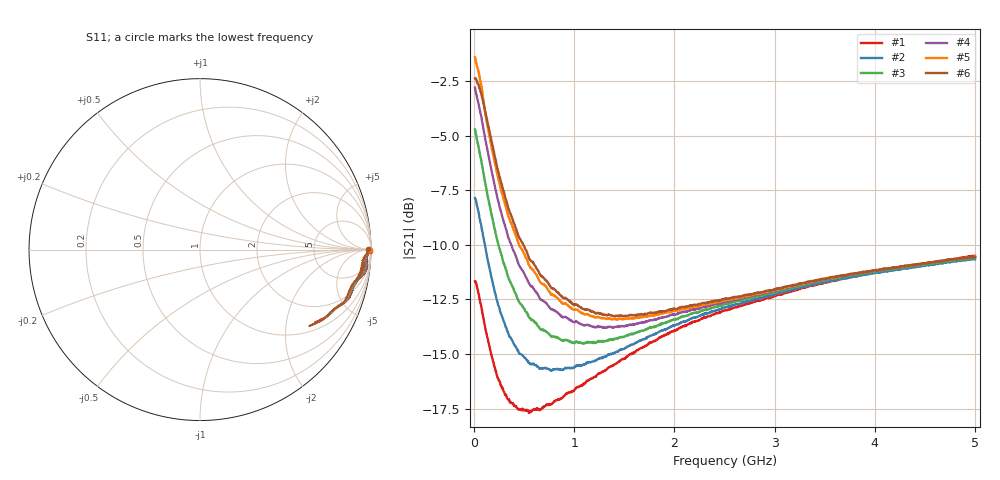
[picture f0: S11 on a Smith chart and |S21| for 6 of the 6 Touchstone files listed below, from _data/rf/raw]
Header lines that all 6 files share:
# Hz S DB R 50
Fixed: Cpbe_fF = 22.0, Cpce_fF = 18.0, Cpbc_fF = 5.0, Lb_pH = 45.0, Lc_pH = 42.0, Le_pH = 6.0, Rpb_ohm = 0.0, Rpc_ohm = 0.0, Rpe_ohm = 0.0
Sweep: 10 MHz to 5 GHz
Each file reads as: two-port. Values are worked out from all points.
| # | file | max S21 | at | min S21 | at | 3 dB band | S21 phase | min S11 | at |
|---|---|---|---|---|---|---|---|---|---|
| 1 | deemb_preext_vce3.5_ib80u.s2p | -10.50 dB | 4.975 GHz | -17.7 dB | 548.9 MHz | 2.221 GHz-5 GHz | 54 deg at 2.505 GHz | -2.0 dB | 4.995 GHz |
| 2 | deemb_preext_vce3.5_ib120u.s2p | -7.86 dB | 10 MHz | -15.8 dB | 773.5 MHz | 4.651 GHz-5 GHz | 55 deg at 2.505 GHz | -2.0 dB | 4.995 GHz |
| 3 | deemb_preext_vce3.5_ib160u.s2p | -4.71 dB | 10 MHz | -14.5 dB | 1.088 GHz | 10 MHz-129.8 MHz | 57 deg at 2.505 GHz | -2.0 dB | 4.995 GHz |
| 4 | deemb_preext_vce3.5_ib200u.s2p | -2.79 dB | 10 MHz | -13.8 dB | 1.312 GHz | 10 MHz-139.7 MHz | 59 deg at 2.505 GHz | -2.1 dB | 5 GHz |
| 5 | deemb_preext_vce3.5_ib240u.s2p | -1.40 dB | 10 MHz | -13.4 dB | 1.427 GHz | 10 MHz-124.8 MHz | 60 deg at 2.505 GHz | -2.1 dB | 4.995 GHz |
| 6 | deemb_preext_vce3.5_ib280u.s2p | -2.35 dB | 14.99 MHz | -13.3 dB | 1.477 GHz | 10 MHz-179.7 MHz | 61 deg at 2.505 GHz | -2.2 dB | 5 GHz |
